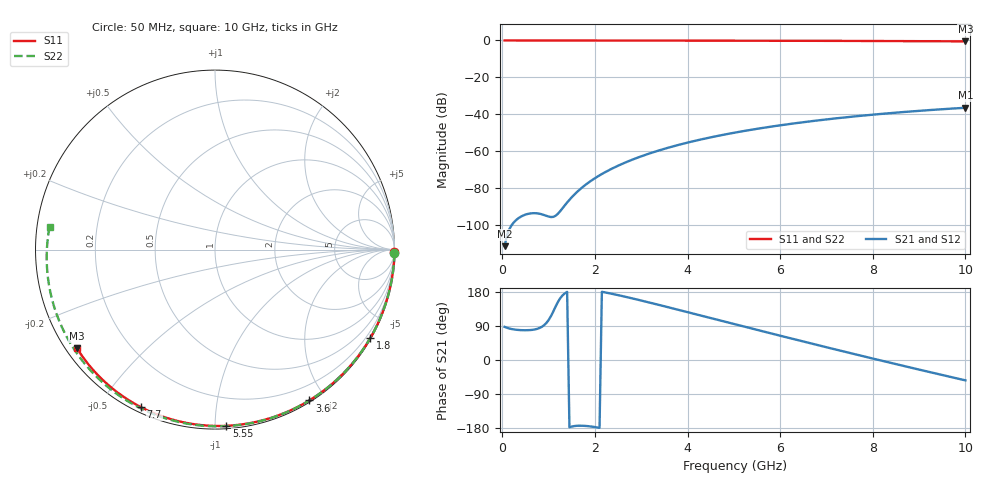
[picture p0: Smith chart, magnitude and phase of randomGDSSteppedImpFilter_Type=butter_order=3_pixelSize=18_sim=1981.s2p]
! freq	dB(S11)	phase(S11)	dB(S12)	phase(S12)
!  dB(S21)	phase(S21)	dB(S22)	phase(S22)
!S-par simulation data
#  GHz  S  DB  R 50
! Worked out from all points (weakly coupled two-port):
!   200 points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, 50 MHz to 10 GHz, reference 50 ohm
!   highest |S21| = -36.53 dB at 10 GHz (marker M1); lowest = -111.6 dB at 50 MHz (marker M2)
!   lowest |S11| = -0.5 dB at 10 GHz (marker M3), VSWR 35.52, Z = 1.55 - j16 ohm
!   |S11| at or under -10 dB: nowhere
!   |S22| runs from -0.6 to 0.0 dB; largest |S21 - S12| = 0
!   S11 on the Smith chart (normalised r, x): 50 MHz: open; 1.8 GHz: 0.03, -3.77; 3.6 GHz: 0.02, -1.80; 5.55 GHz: 0.02, -1.07; 7.7 GHz: 0.02, -0.64; 10 GHz: 0.03, -0.32
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0.05  -0.00 -0.8  -111.63 87.4  -111.63 87.4  -0.00 -1.0
0.45  -0.01 -7.5  -95.00 78.6  -95.00 78.6  -0.01 -9.2
0.85  -0.02 -14.2  -94.30 87.3  -94.30 87.3  -0.02 -17.4
1.25  -0.03 -20.8  -92.65 162.8  -92.65 162.8  -0.03 -25.4
1.7  -0.04 -28.1  -80.29 -173.4  -80.29 -173.4  -0.04 -34.4
1.75  -0.04 -28.9  -79.25 -173.6  -79.25 -173.6  -0.04 -35.4
1.8  -0.04 -29.7  -78.26 -174.0  -78.26 -174.0  -0.05 -36.3
2.1  -0.04 -34.6  -73.20 -178.9  -73.20 -178.9  -0.05 -42.2
2.5  -0.05 -40.9  -67.96 171.2  -67.96 171.2  -0.06 -50.0
2.9  -0.06 -47.2  -63.79 159.9  -63.79 159.9  -0.07 -57.7
3.4  -0.07 -54.9  -59.55 144.9  -59.55 144.9  -0.09 -67.1
3.6  -0.08 -58.0  -58.08 138.7  -58.08 138.7  -0.10 -70.8
4.3  -0.10 -68.4  -53.66 116.9  -53.66 116.9  -0.12 -83.6
5.05  -0.12 -79.3  -49.88 93.5  -49.88 93.5  -0.15 -97.0
5.55  -0.14 -86.3  -47.75 78.0  -47.75 78.0  -0.18 -105.8
6.1  -0.17 -93.9  -45.69 61.0  -45.69 61.0  -0.21 -115.4
6.7  -0.20 -102.0  -43.73 42.7  -43.73 42.7  -0.25 -125.8
7.7  -0.26 -115.1  -40.98 12.7  -40.98 12.7  -0.33 -143.4
8.35  -0.32 -123.5  -39.49 -6.5  -39.49 -6.5  -0.40 -155.2
9.2  -0.40 -134.3  -37.83 -31.1  -37.83 -31.1  -0.51 -171.4
9.6  -0.44 -139.4  -37.15 -42.4  -37.15 -42.4  -0.56 -179.4
10  -0.49 -144.5  -36.53 -53.7  -36.53 -53.7  -0.62 172.1
